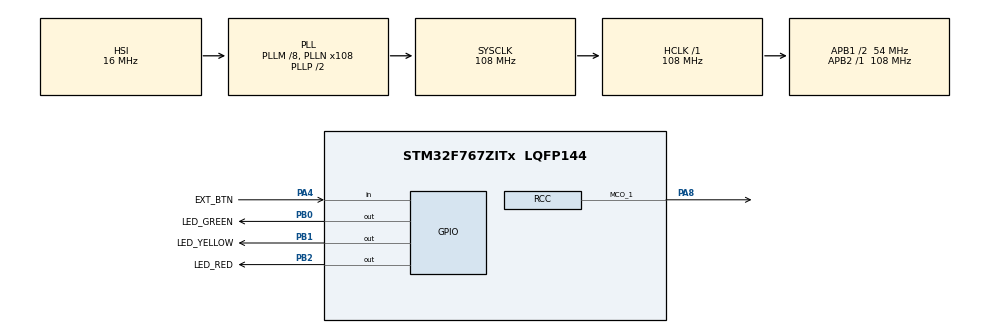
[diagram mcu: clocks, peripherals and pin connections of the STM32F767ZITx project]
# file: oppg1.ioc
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Mcu.Family=STM32F7
Mcu.Name=STM32F767ZITx
Mcu.Package=LQFP144
NVIC.PriorityGroup=NVIC_PRIORITYGROUP_4
PA4.GPIO_Label=EXT_BTN
PA4.Signal=GPIO_Input
PA8.Mode=Clock-out-1
PA8.Signal=RCC_MCO_1
PB0.GPIO_Label=LED_GREEN
PB0.Signal=GPIO_Output
PB1.GPIO_Label=LED_YELLOW
PB1.Signal=GPIO_Output
PB2.GPIO_Label=LED_RED
PB2.Signal=GPIO_Output
PH0/OSC_IN.Mode=HSE-External-Oscillator
PH0/OSC_IN.Signal=RCC_OSC_IN
PH1/OSC_OUT.Mode=HSE-External-Oscillator
PH1/OSC_OUT.Signal=RCC_OSC_OUT
ProjectManager.HeapSize=0x200
ProjectManager.StackSize=0x400
ProjectManager.TargetToolchain=STM32CubeIDE
RCC.48MHZClocksFreq_Value=24000000
RCC.AHBFreq_Value=108000000
RCC.APB1CLKDivider=RCC_HCLK_DIV2
RCC.APB1Freq_Value=54000000
RCC.APB1TimFreq_Value=108000000
RCC.APB2Freq_Value=108000000
RCC.APB2TimFreq_Value=108000000
RCC.CortexFreq_Value=108000000
RCC.HCLKFreq_Value=108000000
RCC.HSE_VALUE=8000000
RCC.HSI_VALUE=16000000
RCC.LSE_VALUE=32768
RCC.PLLM=8
RCC.PLLMUL=RCC_PLL_MUL9
RCC.PLLN=108
RCC.PRESCALERUSB=RCC_USBCLKSOURCE_PLL_DIV1_5
RCC.SYSCLKFreq_VALUE=108000000
RCC.SYSCLKSource=RCC_SYSCLKSOURCE_PLLCLK
RCC.SYSCLKSourceVirtual=RCC_SYSCLKSOURCE_PLLCLK
RCC.USBFreq_Value=108000000
RCC.VCOOutputFreq_Value=216000000
TIM2.Prescaler=54-1
VP_TIM2_VS_ClockSourceINT.Mode=Internal
board=NUCLEO-F767ZI

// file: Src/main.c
/* USER CODE BEGIN Header */
/**
  ******************************************************************************
  * @file           : main.c
  * @brief          : Main program body
  ******************************************************************************
  * @attention
  *
  * Copyright (c) 2025 STMicroelectronics.
  * All rights reserved.
  *
  * This software is licensed under terms that can be found in the LICENSE file
  * in the root directory of this software component.
  * If no LICENSE file comes with this software, it is provided AS-IS.
  *
  ******************************************************************************
  */
/* USER CODE END Header */
#include "main.h"

TIM_HandleTypeDef htim2;

void SystemClock_Config(void);
static void MX_GPIO_Init(void);
static void MX_TIM2_Init(void);

int main(void)
{

  /* USER CODE BEGIN 1 */

  volatile uint32_t timer_val;

  int redTime = 20 * 1000 * 1000;
  int yellowTime = 5 * 1000 * 1000;
  int greenTIme = 10 * 1000 * 1000;

  /* USER CODE END 1 */

  /* MCU Configuration--------------------------------------------------------*/

  /* Reset of all peripherals, Initializes the Flash interface and the Systick. */
  HAL_Init();

  /* Configure the system clock */
  SystemClock_Config();

  /* Initialize all configured peripherals */
  MX_GPIO_Init();
  MX_TIM2_Init();
  /* USER CODE BEGIN 2 */

  // Start timer
  HAL_TIM_Base_Start(&htim2);

  // Get current time (microseconds)
  timer_val = __HAL_TIM_GET_COUNTER(&htim2);

  /* USER CODE END 2 */

  /* Infinite loop */
  while (1)
  {

    /* USER CODE BEGIN 3 */

    int timediff = __HAL_TIM_GET_COUNTER(&htim2) - timer_val;

    if (HAL_GPIO_ReadPin(EXT_BTN_GPIO_Port, EXT_BTN_Pin)){
      if (timediff < redTime){
        redTime += 10 * 1000 * 1000; //add 10 seconds of red time
        HAL_Delay(10000); //10s cooldown as well so you can hold the button in without exponentialy increasing the time
      } else {
        HAL_GPIO_WritePin(LED_RED_GPIO_Port, LED_RED_Pin, GPIO_PIN_RESET);
        HAL_GPIO_WritePin(LED_YELLOW_GPIO_Port, LED_YELLOW_Pin, GPIO_PIN_SET);
        HAL_GPIO_WritePin(LED_GREEN_GPIO_Port, LED_GREEN_Pin, GPIO_PIN_SET);
        HAL_Delay(5 * 1000);
        timer_val = __HAL_TIM_GET_COUNTER(&htim2);
        redTime = 20 * 1000 * 1000; //reset redTime back to 20 seconds
      }

    }

    if (timediff < redTime)
    {
      HAL_GPIO_WritePin(LED_RED_GPIO_Port, LED_RED_Pin, GPIO_PIN_SET);
      HAL_GPIO_WritePin(LED_YELLOW_GPIO_Port, LED_YELLOW_Pin, GPIO_PIN_RESET);
      HAL_GPIO_WritePin(LED_GREEN_GPIO_Port, LED_GREEN_Pin, GPIO_PIN_RESET);
    } else if (timediff < redTime + yellowTime)
    {
      HAL_GPIO_WritePin(LED_RED_GPIO_Port, LED_RED_Pin, GPIO_PIN_SET);
      HAL_GPIO_WritePin(LED_YELLOW_GPIO_Port, LED_YELLOW_Pin, GPIO_PIN_SET);
      HAL_GPIO_WritePin(LED_GREEN_GPIO_Port, LED_GREEN_Pin, GPIO_PIN_RESET);
    } else if (timediff < redTime + yellowTime + greenTIme)
    {
      HAL_GPIO_WritePin(LED_RED_GPIO_Port, LED_RED_Pin, GPIO_PIN_RESET);
      HAL_GPIO_WritePin(LED_YELLOW_GPIO_Port, LED_YELLOW_Pin, GPIO_PIN_RESET);
      HAL_GPIO_WritePin(LED_GREEN_GPIO_Port, LED_GREEN_Pin, GPIO_PIN_SET);
    } else {
      timer_val = __HAL_TIM_GET_COUNTER(&htim2);
      redTime = 20 * 1000 * 1000;
    }
  }
  /* USER CODE END 3 */
}

void SystemClock_Config(void)
{
  RCC_OscInitTypeDef RCC_OscInitStruct = {0};
  RCC_ClkInitTypeDef RCC_ClkInitStruct = {0};

  /** Configure the main internal regulator output voltage
  */
  __HAL_RCC_PWR_CLK_ENABLE();
  __HAL_PWR_VOLTAGESCALING_CONFIG(PWR_REGULATOR_VOLTAGE_SCALE3);

  /** Initializes the RCC Oscillators according to the specified parameters
  * in the RCC_OscInitTypeDef structure.
  */
  RCC_OscInitStruct.OscillatorType = RCC_OSCILLATORTYPE_HSI;
  RCC_OscInitStruct.HSIState = RCC_HSI_ON;
  RCC_OscInitStruct.HSICalibrationValue = RCC_HSICALIBRATION_DEFAULT;
  RCC_OscInitStruct.PLL.PLLState = RCC_PLL_ON;
  RCC_OscInitStruct.PLL.PLLSource = RCC_PLLSOURCE_HSI;
  RCC_OscInitStruct.PLL.PLLM = 8;
  RCC_OscInitStruct.PLL.PLLN = 108;
  RCC_OscInitStruct.PLL.PLLP = RCC_PLLP_DIV2;
  RCC_OscInitStruct.PLL.PLLQ = 2;
  RCC_OscInitStruct.PLL.PLLR = 2;
  if (HAL_RCC_OscConfig(&RCC_OscInitStruct) != HAL_OK)
  {
    Error_Handler();
  }

  /** Activate the Over-Drive mode
  */
  if (HAL_PWREx_EnableOverDrive() != HAL_OK)
  {
    Error_Handler();
  }

  /** Initializes the CPU, AHB and APB buses clocks
  */
  RCC_ClkInitStruct.ClockType = RCC_CLOCKTYPE_HCLK|RCC_CLOCKTYPE_SYSCLK
                              |RCC_CLOCKTYPE_PCLK1|RCC_CLOCKTYPE_PCLK2;
  RCC_ClkInitStruct.SYSCLKSource = RCC_SYSCLKSOURCE_PLLCLK;
  RCC_ClkInitStruct.AHBCLKDivider = RCC_SYSCLK_DIV1;
  RCC_ClkInitStruct.APB1CLKDivider = RCC_HCLK_DIV2;
  RCC_ClkInitStruct.APB2CLKDivider = RCC_HCLK_DIV1;

  if (HAL_RCC_ClockConfig(&RCC_ClkInitStruct, FLASH_LATENCY_3) != HAL_OK)
  {
    Error_Handler();
  }
  HAL_RCC_MCOConfig(RCC_MCO1, RCC_MCO1SOURCE_HSI, RCC_MCODIV_1);
}

static void MX_TIM2_Init(void)
{

  TIM_ClockConfigTypeDef sClockSourceConfig = {0};
  TIM_MasterConfigTypeDef sMasterConfig = {0};

  htim2.Instance = TIM2;
  htim2.Init.Prescaler = 54-1;
  htim2.Init.CounterMode = TIM_COUNTERMODE_UP;
  htim2.Init.Period = 4294967295;
  htim2.Init.ClockDivision = TIM_CLOCKDIVISION_DIV1;
  htim2.Init.AutoReloadPreload = TIM_AUTORELOAD_PRELOAD_DISABLE;
  if (HAL_TIM_Base_Init(&htim2) != HAL_OK)
  {
    Error_Handler();
  }
  sClockSourceConfig.ClockSource = TIM_CLOCKSOURCE_INTERNAL;
  if (HAL_TIM_ConfigClockSource(&htim2, &sClockSourceConfig) != HAL_OK)
  {
    Error_Handler();
  }
  sMasterConfig.MasterOutputTrigger = TIM_TRGO_RESET;
  sMasterConfig.MasterSlaveMode = TIM_MASTERSLAVEMODE_DISABLE;
  if (HAL_TIMEx_MasterConfigSynchronization(&htim2, &sMasterConfig) != HAL_OK)
  {
    Error_Handler();
  }

}

static void MX_GPIO_Init(void)
{
  GPIO_InitTypeDef GPIO_InitStruct = {0};

  /* GPIO Ports Clock Enable */
  __HAL_RCC_GPIOH_CLK_ENABLE();
  __HAL_RCC_GPIOA_CLK_ENABLE();
  __HAL_RCC_GPIOB_CLK_ENABLE();

  /*Configure GPIO pin Output Level */
  HAL_GPIO_WritePin(GPIOB, LED_GREEN_Pin|LED_YELLOW_Pin|LED_RED_Pin, GPIO_PIN_RESET);

  /*Configure GPIO pin : EXT_BTN_Pin */
  GPIO_InitStruct.Pin = EXT_BTN_Pin;
  GPIO_InitStruct.Mode = GPIO_MODE_INPUT;
  GPIO_InitStruct.Pull = GPIO_NOPULL;
  HAL_GPIO_Init(EXT_BTN_GPIO_Port, &GPIO_InitStruct);

  /*Configure GPIO pins : LED_GREEN_Pin LED_YELLOW_Pin LED_RED_Pin */
  GPIO_InitStruct.Pin = LED_GREEN_Pin|LED_YELLOW_Pin|LED_RED_Pin;
  GPIO_InitStruct.Mode = GPIO_MODE_OUTPUT_PP;
  GPIO_InitStruct.Pull = GPIO_NOPULL;
  GPIO_InitStruct.Speed = GPIO_SPEED_FREQ_LOW;
  HAL_GPIO_Init(GPIOB, &GPIO_InitStruct);

  /*Configure GPIO pin : PA8 */
  GPIO_InitStruct.Pin = GPIO_PIN_8;
  GPIO_InitStruct.Mode = GPIO_MODE_AF_PP;
  GPIO_InitStruct.Pull = GPIO_NOPULL;
  GPIO_InitStruct.Speed = GPIO_SPEED_FREQ_LOW;
  GPIO_InitStruct.Alternate = GPIO_AF0_MCO;
  HAL_GPIO_Init(GPIOA, &GPIO_InitStruct);

}

void Error_Handler(void)
{
  __disable_irq();
  while (1)
  {
  }
}
